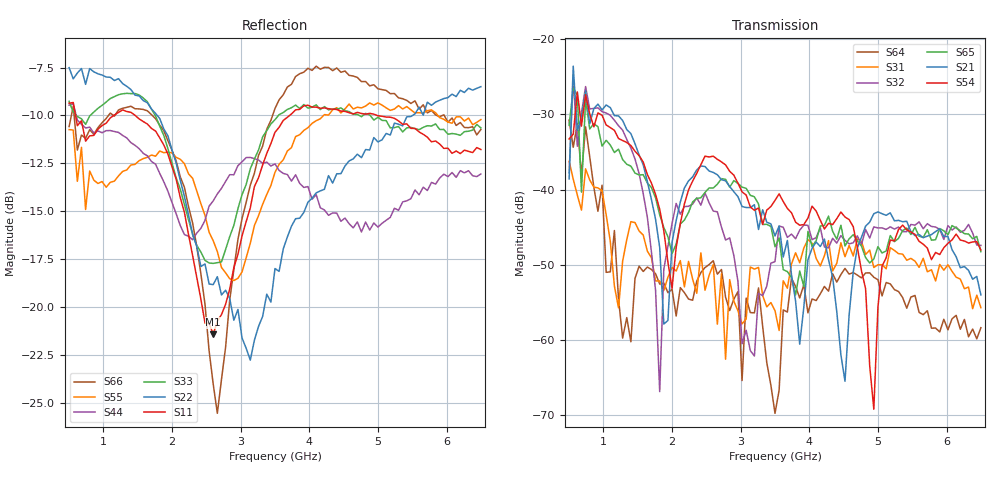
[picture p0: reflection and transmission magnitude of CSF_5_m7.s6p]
!Keysight Technologies,M9804A,MY58100912,A.14.10.03
!Date: Thursday, April 27, 2023 10:28:33
!Correction: S11(C  6-Port  )
!S12(C  6-Port  )
!S13(C  6-Port  )
!S14(C  6-Port  )
!S15(C  6-Port  )
!S16(C  6-Port  )
!S21(C  6-Port  )
!S22(C  6-Port  )
!S23(C  6-Port  )
!S24(C  6-Port  )
!S25(C  6-Port  )
!S26(C  6-Port  )
!S31(C  6-Port  )
!S32(C  6-Port  )
!S33(C  6-Port  )
!S34(C  6-Port  )
!S35(C  6-Port  )
!S36(C  6-Port  )
!S41(C  6-Port  )
!S42(C  6-Port  )
!S43(C  6-Port  )
!S44(C  6-Port  )
!S45(C  6-Port  )
!S46(C  6-Port  )
!S51(C  6-Port  )
!S52(C  6-Port  )
!S53(C  6-Port  )
!S54(C  6-Port  )
!S55(C  6-Port  )
!S56(C  6-Port  )
!S61(C  6-Port  )
!S62(C  6-Port  )
!S63(C  6-Port  )
!S64(C  6-Port  )
!S65(C  6-Port  )
!S66(C  6-Port  )
!S6P File: Measurement: :
# Hz S  RI  R 50
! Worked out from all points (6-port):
!   101 points, 500 MHz to 6.5 GHz, reference 50 ohm
!   strongest paths, dB at 500 MHz, 2 GHz, 3.5 GHz, 5 GHz, 6.5 GHz:
!     S54: -33.3, -53.1, -41.4, -55.6, -48.0
!     S21: -38.6, -47.0, -46.2, -43.0, -54.0
!     S65: -31.5, -48.5, -47.6, -47.6, -48.3
!     S32: -37.8, -44.5, -49.6, -45.1, -47.4
!     S31: -36.2, -50.3, -56.1, -50.0, -55.7
!     S64: -30.8, -53.3, -69.7, -52.0, -58.4
!   lowest |S11| = -21.4 dB at 2.6 GHz (marker M1), VSWR 1.19, Z = 42.5 + j2.27 ohm
!   |S11| at or under -10 dB: 593.5 MHz to 1.151 GHz (557.8 MHz wide, 63.9 % of centre); 1.463 GHz to 3.714 GHz (2.251 GHz wide, 87 % of centre); 4.987 GHz to end of sweep
